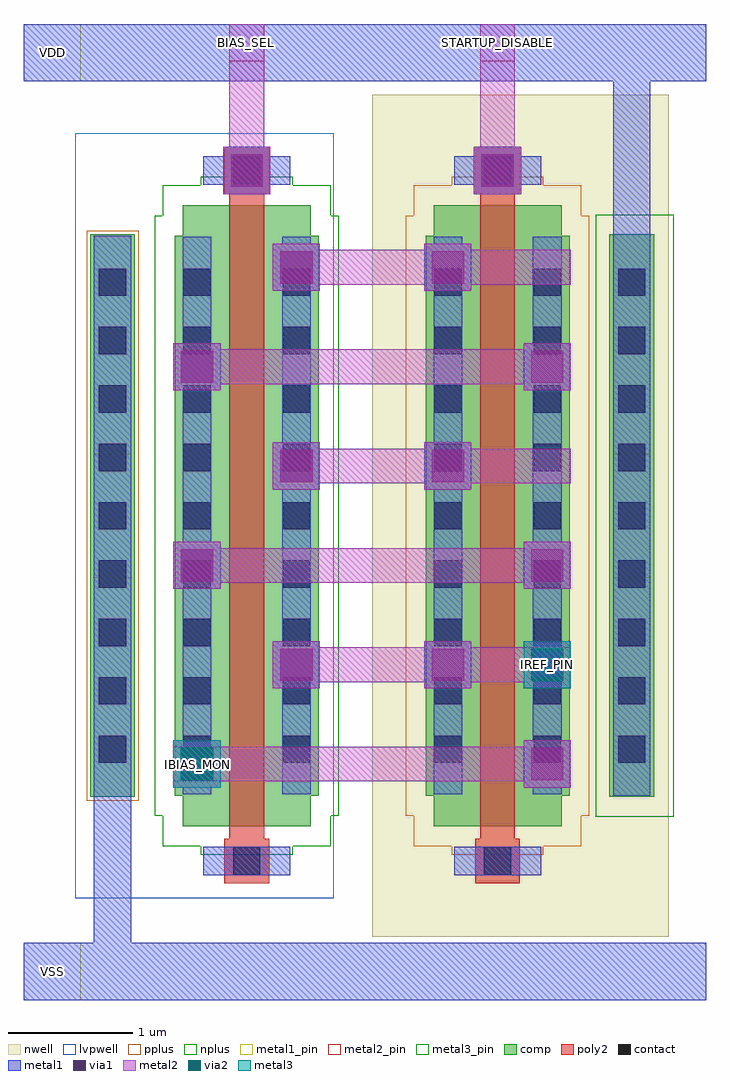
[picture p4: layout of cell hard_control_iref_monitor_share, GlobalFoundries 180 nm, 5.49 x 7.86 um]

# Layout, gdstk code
import gdstk
lib = gdstk.Library(unit=1e-6, precision=1e-09)
def R(c, l, rs):  # rectangles x0, y0, x1, y1
    for r in rs: c.add(gdstk.rectangle(r[:2], r[2:], *l))
def A(c, l, x, y, w, h, nx, ny, dx, dy):  # array of equal rectangles
    R(c, l, [(x+i*dx, y+j*dy, x+i*dx+w, y+j*dy+h) for i in range(nx) for j in range(ny)])
nwell = (21, 0)
comp = (22, 0)
poly2 = (30, 0)
pplus = (31, 0)
nplus = (32, 0)
contact = (33, 0)
metal1 = (34, 0)
metal1_pin = (34, 10)
via1 = (35, 0)
metal2 = (36, 0)
metal2_pin = (36, 10)
via2 = (38, 0)
metal3 = (42, 0)
metal3_pin = (42, 10)
lvpwell = (204, 0)

nfet_03v3_lg6zj2 = lib.new_cell('nfet_03v3_LG6ZJ2')
R(nfet_03v3_lg6zj2, comp, [(-0.515,-2.5,0.515,-2.255), (-0.58,-2.255,0.58,2.255), (-0.515,2.255,0.515,2.5)])
R(nfet_03v3_lg6zj2, poly2, [(-0.18,-2.96,0.18,-2.6), (-0.14,-2.6,0.14,2.6), (-0.18,2.6,0.18,2.96)])
R(nfet_03v3_lg6zj2, nplus, [(-0.37,-2.73,0.37,-2.66), (-0.675,-2.66,0.675,-2.415), (-0.74,-2.415,0.74,2.415), (-0.675,2.415,0.675,2.66), (-0.37,2.66,0.37,2.73)])
A(nfet_03v3_lg6zj2, contact, -0.51, -1.99, 0.22, 0.22, 1, 9, 0, 0.47)
A(nfet_03v3_lg6zj2, contact, 0.29, -1.99, 0.22, 0.22, 1, 9, 0, 0.47)
R(nfet_03v3_lg6zj2, contact, [(-0.11,-2.89,0.11,-2.67), (-0.11,2.67,0.11,2.89)])
R(nfet_03v3_lg6zj2, metal1, [(-0.17,-2.895,0.17,-2.665), (-0.515,-2.245,-0.285,2.245), (0.285,-2.245,0.515,2.245), (-0.17,2.665,0.17,2.895)])
R(nfet_03v3_lg6zj2, lvpwell, [(-0.7,-3.08,0.7,3.08)])

pfet_03v3_r46qmg = lib.new_cell('pfet_03v3_R46QMG')
R(pfet_03v3_r46qmg, nwell, [(-1.01,-3.39,1.01,3.39)])
R(pfet_03v3_r46qmg, comp, [(-0.515,-2.5,0.515,-2.255), (-0.58,-2.255,0.58,2.255), (-0.515,2.255,0.515,2.5)])
R(pfet_03v3_r46qmg, poly2, [(-0.18,-2.96,0.18,-2.6), (-0.14,-2.6,0.14,2.6), (-0.18,2.6,0.18,2.96)])
R(pfet_03v3_r46qmg, pplus, [(-0.37,-2.73,0.37,-2.66), (-0.675,-2.66,0.675,-2.415), (-0.74,-2.415,0.74,2.415), (-0.675,2.415,0.675,2.66), (-0.37,2.66,0.37,2.73)])
A(pfet_03v3_r46qmg, contact, -0.51, -1.99, 0.22, 0.22, 1, 9, 0, 0.47)
A(pfet_03v3_r46qmg, contact, 0.29, -1.99, 0.22, 0.22, 1, 9, 0, 0.47)
R(pfet_03v3_r46qmg, contact, [(-0.11,-2.89,0.11,-2.67), (-0.11,2.67,0.11,2.89)])
R(pfet_03v3_r46qmg, metal1, [(-0.17,-2.895,0.17,-2.665), (-0.515,-2.245,-0.285,2.245), (0.285,-2.245,0.515,2.245), (-0.17,2.665,0.17,2.895)])

switch_tg_analog_nf01 = lib.new_cell('switch_tg_analog_nf01')
R(switch_tg_analog_nf01, nwell, [(2.505,-3.39,4.895,3.39)])
R(switch_tg_analog_nf01, comp, [(0.235,-2.265,0.595,2.265), (4.415,-2.265,4.775,2.265)])
R(switch_tg_analog_nf01, pplus, [(0.205,-2.295,0.625,2.295)])
R(switch_tg_analog_nf01, nplus, [(4.305,-2.425,4.935,2.425)])
A(switch_tg_analog_nf01, contact, 0.305, -1.99, 0.22, 0.22, 1, 9, 0, 0.47)
A(switch_tg_analog_nf01, contact, 4.485, -1.99, 0.22, 0.22, 1, 9, 0, 0.47)
A(switch_tg_analog_nf01, metal1, 0.905, -2.19, 0.38, 0.38, 1, 3, 0, 1.6)
A(switch_tg_analog_nf01, metal1, 3.725, -2.19, 0.38, 0.38, 1, 3, 0, 1.6)
A(switch_tg_analog_nf01, metal1, 1.705, -1.39, 0.38, 0.38, 1, 3, 0, 1.6)
A(switch_tg_analog_nf01, metal1, 2.925, -1.39, 0.38, 0.38, 1, 3, 0, 1.6)
R(switch_tg_analog_nf01, metal1, [(1.145,-2.895,1.845,-2.665), (3.165,-2.895,3.865,-2.665), (0.265,-2.255,0.565,2.255), (4.445,-2.255,4.745,2.255), (1.145,2.665,1.845,2.895), (3.165,2.665,3.865,2.895)])
R(switch_tg_analog_nf01, metal1_pin, [(0.265,-0.5,0.565,0.5), (4.445,-0.5,4.745,0.5), (1.145,2.665,1.845,2.895), (3.165,2.665,3.865,2.895)])
A(switch_tg_analog_nf01, via1, 0.965, -2.13, 0.26, 0.26, 1, 3, 0, 1.6)
A(switch_tg_analog_nf01, via1, 3.785, -2.13, 0.26, 0.26, 1, 3, 0, 1.6)
A(switch_tg_analog_nf01, via1, 1.765, -1.33, 0.26, 0.26, 1, 3, 0, 1.6)
A(switch_tg_analog_nf01, via1, 2.985, -1.33, 0.26, 0.26, 1, 3, 0, 1.6)
A(switch_tg_analog_nf01, metal2, 0.905, -2.14, 3.2, 0.28, 1, 3, 0, 1.6)
A(switch_tg_analog_nf01, metal2, 1.705, -1.34, 2.4, 0.28, 1, 3, 0, 1.6)
R(switch_tg_analog_nf01, metal2, [(0.905,-2.19,1.285,-2.14), (3.725,-2.19,4.105,-2.14), (0.905,-1.86,1.285,-1.81), (3.725,-1.86,4.105,-1.81), (1.705,-1.39,2.085,-1.34), (2.925,-1.39,3.305,-1.34), (1.705,-1.06,2.085,-1.01), (2.925,-1.06,3.305,-1.01), (0.905,-0.59,1.285,-0.54), (3.725,-0.59,4.105,-0.54), (0.905,-0.26,1.285,-0.21), (3.725,-0.26,4.105,-0.21), (1.705,0.21,2.085,0.26), (2.925,0.21,3.305,0.26), (1.705,0.54,2.085,0.59), (2.925,0.54,3.305,0.59), (0.905,1.01,1.285,1.06), (3.725,1.01,4.105,1.06), (0.905,1.34,1.285,1.39), (3.725,1.34,4.105,1.39), (1.705,1.81,2.085,1.86), (2.925,1.81,3.305,1.86), (1.705,2.14,2.085,2.19), (2.925,2.14,3.305,2.19)])
R(switch_tg_analog_nf01, metal2_pin, [(0.905,-2.14,1.285,-1.86), (3.725,-1.34,4.105,-1.06)])
R(switch_tg_analog_nf01, lvpwell, [(0.115,-3.08,2.195,3.08)])
switch_tg_analog_nf01.add(gdstk.Reference(nfet_03v3_lg6zj2, (1.495,0)))
switch_tg_analog_nf01.add(gdstk.Reference(pfet_03v3_r46qmg, (3.515,0)))
switch_tg_analog_nf01.add(gdstk.Label('VDD', (4.595,0), layer=34, texttype=10))
switch_tg_analog_nf01.add(gdstk.Label('GB', (3.515,2.78), layer=34, texttype=10))
switch_tg_analog_nf01.add(gdstk.Label('VSS', (0.415,0), layer=34, texttype=10))
switch_tg_analog_nf01.add(gdstk.Label('G', (1.495,2.78), layer=34, texttype=10))
switch_tg_analog_nf01.add(gdstk.Label('B', (3.915,-1.2), layer=36, texttype=10))
switch_tg_analog_nf01.add(gdstk.Label('A', (1.095,-2), layer=36, texttype=10))

hard_control_iref_monito = lib.new_cell('hard_control_iref_monitor_share')
R(hard_control_iref_monito, metal1, [(0,0,5.495,0.46), (0.565,0.46,0.865,1.9), (4.745,5.9,5.045,7.4), (1.605,6.49,1.985,6.87), (3.625,6.49,4.005,6.87), (0,7.4,5.495,7.86)])
R(hard_control_iref_monito, metal1_pin, [(0,0,0.46,0.46), (0,7.4,0.46,7.86)])
R(hard_control_iref_monito, via1, [(1.665,6.55,1.925,6.81), (3.685,6.55,3.945,6.81)])
R(hard_control_iref_monito, metal2, [(1.205,1.71,1.585,2.09), (4.025,2.51,4.405,2.89), (1.605,6.49,1.985,6.87), (3.625,6.49,4.005,6.87), (1.655,6.87,1.935,7.86), (3.675,6.87,3.955,7.86)])
R(hard_control_iref_monito, metal2_pin, [(1.655,7.56,1.935,7.86), (3.675,7.56,3.955,7.86)])
R(hard_control_iref_monito, via2, [(1.265,1.77,1.525,2.03), (4.085,2.57,4.345,2.83)])
R(hard_control_iref_monito, metal3, [(1.205,1.71,1.585,2.09), (4.025,2.51,4.405,2.89)])
R(hard_control_iref_monito, metal3_pin, [(1.205,1.71,1.585,2.09), (4.025,2.51,4.405,2.89)])
hard_control_iref_monito.add(gdstk.Reference(switch_tg_analog_nf01, (0.3,3.9)))
hard_control_iref_monito.add(gdstk.Label('VDD', (0.23,7.63), layer=34, texttype=10))
hard_control_iref_monito.add(gdstk.Label('VSS', (0.23,0.23), layer=34, texttype=10))
hard_control_iref_monito.add(gdstk.Label('STARTUP_DISABLE', (3.815,7.71), layer=36, texttype=10))
hard_control_iref_monito.add(gdstk.Label('BIAS_SEL', (1.795,7.71), layer=36, texttype=10))
hard_control_iref_monito.add(gdstk.Label('IBIAS_MON', (1.395,1.9), layer=42, texttype=10))
hard_control_iref_monito.add(gdstk.Label('IREF_PIN', (4.215,2.7), layer=42, texttype=10))

lib.write_gds('hard_control_iref_monitor_share.gds')
